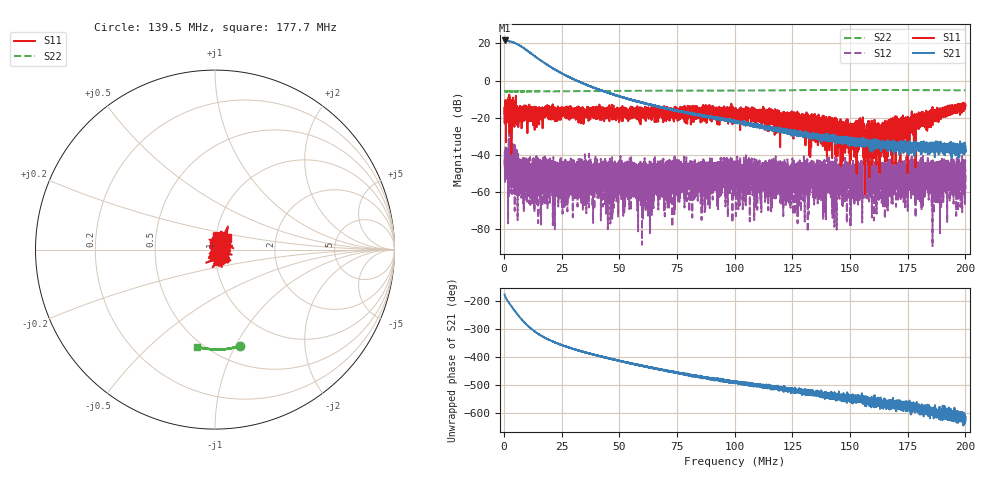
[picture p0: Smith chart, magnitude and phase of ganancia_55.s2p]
# Hz S DB R 50
! CMT, M5065, 19127446, 24.2.4/2
! Date: 11/8/2024 4:17:16 PM
! Data: Format (Calibration Info)
! Freq	S11:dB/Ang(F2)	S21:dB/Ang(F2)	S12:dB/Ang(F2)	S22:dB/Ang(F2)
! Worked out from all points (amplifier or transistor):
!   9000 points, 300 kHz to 200 MHz, reference 50 ohm
!   highest |S21| = 21.6 dB at 566.3 kHz (marker M1)
!   |S21| within 3 dB of that: start of sweep to 7.197 MHz
!   unconditionally stable (mu >= 1): start of sweep to 2.229 MHz; 2.232 MHz to end of sweep
!   at 33.59 MHz: K = 705.70, MAG = 0.3 dB, |S12| = -64.7 dB
!   at 100.2 MHz: K = 1685.48, MAG = -20.8 dB, |S12| = -51.3 dB
!   at 200 MHz: K = 6650.02, MAG = -35.9 dB, |S12| = -48.4 dB
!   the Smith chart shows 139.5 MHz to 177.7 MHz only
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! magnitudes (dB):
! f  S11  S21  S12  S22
! 300 kHz  -17.8  21.5  -42.6  -5.8
! 566.3 kHz  -21.1  21.6  -43.5  -5.9
! 11.93 MHz  -17.7  14.4  -45.4  -5.8
! 33.59 MHz  -17.0  -1.2  -64.7  -5.7
! 66.87 MHz  -22.2  -14.1  -47.0  -5.5
! 75.08 MHz  -19.0  -16.4  -48.9  -5.5
! 77.15 MHz  -16.1  -16.8  -54.9  -5.5
! 100.2 MHz  -18.6  -22.3  -51.3  -5.4
! 119.9 MHz  -19.7  -26.0  -47.8  -5.3
! 123.1 MHz  -25.6  -27.4  -60.1  -5.3
! 133.4 MHz  -19.5  -28.9  -56.8  -5.2
! 137.5 MHz  -21.2  -30.6  -65.2  -5.1
! 141 MHz  -25.0  -29.9  -48.6  -5.1
! 150 MHz  -26.6  -32.3  -60.5  -5.1
! 154.6 MHz  -24.3  -32.3  -62.9  -5.1
! 157.1 MHz  -30.1  -33.6  -51.6  -5.1
! 161.4 MHz  -27.4  -35.1  -55.4  -5.1
! 162.9 MHz  -33.8  -33.5  -50.1  -5.1
! 165.1 MHz  -26.1  -34.2  -74.4  -5.1
! 166.7 MHz  -21.2  -37.0  -50.5  -5.1
! 194.4 MHz  -16.4  -38.0  -54.1  -5.3
! 200 MHz  -13.4  -37.6  -48.4  -5.3
